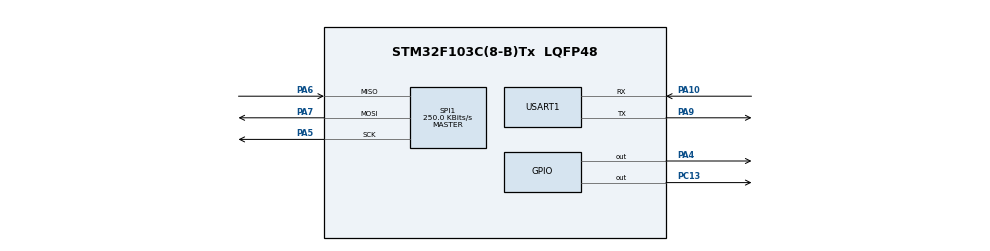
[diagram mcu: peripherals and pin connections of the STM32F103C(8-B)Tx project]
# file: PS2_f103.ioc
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Mcu.Family=STM32F1
Mcu.Name=STM32F103C(8-B)Tx
Mcu.Package=LQFP48
NVIC.PriorityGroup=NVIC_PRIORITYGROUP_4
PA10.Mode=Asynchronous
PA10.Signal=USART1_RX
PA13.Mode=Serial_Wire
PA13.Signal=SYS_JTMS-SWDIO
PA14.Mode=Serial_Wire
PA14.Signal=SYS_JTCK-SWCLK
PA4.Signal=GPIO_Output
PA5.Mode=Full_Duplex_Master
PA5.Signal=SPI1_SCK
PA6.Mode=Full_Duplex_Master
PA6.Signal=SPI1_MISO
PA7.Mode=Full_Duplex_Master
PA7.Signal=SPI1_MOSI
PA9.Mode=Asynchronous
PA9.Signal=USART1_TX
PC13-TAMPER-RTC.Signal=GPIO_Output
ProjectManager.HeapSize=0x200
ProjectManager.StackSize=0x400
ProjectManager.TargetToolchain=STM32CubeIDE
RCC.APB1Freq_Value=8000000
RCC.APB2Freq_Value=8000000
SPI1.BaudRatePrescaler=SPI_BAUDRATEPRESCALER_32
SPI1.CalculateBaudRate=250.0 KBits/s
SPI1.Direction=SPI_DIRECTION_2LINES
SPI1.Mode=SPI_MODE_MASTER
SPI1.VirtualType=VM_MASTER
USART1.VirtualMode=VM_ASYNC
board=custom

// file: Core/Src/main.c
/* USER CODE BEGIN Header */
/**
  ******************************************************************************
  * @file           : main.c
  * @brief          : Main program body
  ******************************************************************************
  * @attention
  *
  * Copyright (c) 2025 STMicroelectronics.
  * All rights reserved.
  *
  * This software is licensed under terms that can be found in the LICENSE file
  * in the root directory of this software component.
  * If no LICENSE file comes with this software, it is provided AS-IS.
  *
  ******************************************************************************
  */
/* USER CODE END Header */
#include "main.h"
#include "spi.h"
#include "usart.h"
#include "gpio.h"

/* USER CODE BEGIN Includes */
#include <stdio.h>

/* USER CODE END Includes */

/* USER CODE BEGIN PD */
#define CS_H	HAL_GPIO_WritePin(GPIOA, GPIO_PIN_4, GPIO_PIN_SET)
#define CS_L	HAL_GPIO_WritePin(GPIOA, GPIO_PIN_4, GPIO_PIN_RESET)
/* USER CODE END PD */

void SystemClock_Config(void);

/* USER CODE BEGIN 0 */
void PS2_Cmd(uint8_t* TxData, uint8_t size)
{
	CS_H; CS_L; HAL_Delay(1);
	HAL_SPI_Transmit(&hspi1, TxData, size, 100);
	CS_H; HAL_Delay(1);
}

void PS2_Init ()
{
/*	uint8_t ShortPoll[5] = {0x01, 0x42, 0x00, 0x00, 0x00};
	uint8_t EnterConfig[9] = {0x01, 0x43, 0x00, 0x01, 0x00, 0x00, 0x00, 0x00, 0x00};
	uint8_t Setup[9] = {0x01, 0x44, 0x00, 0x01, 0xEE, 0x00, 0x00, 0x00, 0x00};
	uint8_t VibrationMode[5] = {0x01, 0x4D, 0x00, 0x00, 0x01};
	uint8_t ExitConfig[9] = {0x01, 0x43, 0x00, 0x00, 0x5A, 0x5A, 0x5A, 0x5A, 0x5A};
*/
	uint8_t ShortPoll[5] = {0x01, 0x42, 0x00, 0xff, 0xff};
	uint8_t EnterConfig[5] = {0x01, 0x43, 0x00, 0x01, 0x00};
	uint8_t Setup[9] = {0x01, 0x44, 0x00, 0x01, 0xEE, 0x00, 0x00, 0x00, 0x00};
	uint8_t VibrationMode[9] = {0x01, 0x4D, 0x00, 0x00, 0x01, 0xff, 0xff, 0xff, 0xff};
	uint8_t Push[9] = {0x01, 0x4F, 0x00, 0xff, 0xff, 0x03, 0x00, 0x00, 0x00};
	uint8_t ExitConfig[9] = {0x01, 0x43, 0x00, 0x00, 0x5A, 0x5A, 0x5A, 0x5A, 0x5A};

	PS2_Cmd(ShortPoll, 5);
	PS2_Cmd(ShortPoll, 5);
	PS2_Cmd(ShortPoll, 5);
	PS2_Cmd(EnterConfig, 5);
	PS2_Cmd(Setup, 9);
	PS2_Cmd(VibrationMode, 9);
	PS2_Cmd(Push, 9);
	PS2_Cmd(ExitConfig, 9);
}

void PS2_Start(uint8_t* data)
{
	uint8_t start_bit[3] = {0x01, 0x42, 0x00};
	HAL_SPI_TransmitReceive(&hspi1, start_bit, data, 3, 100);
}

void PS2_ReadData(uint8_t *data)
{
	CS_H; CS_L; HAL_Delay(1);
	PS2_Start(data);
	for (uint8_t i=3; i<9; i++)
	{
		HAL_SPI_Receive(&hspi1, data[i], 1, 100);
	}
	CS_H; HAL_Delay(1);
}

void PS2_Vibration(uint8_t motor1, uint8_t motor2)
{
	uint8_t buff[9] = {0x01, 0x42, 0x00, motor1, motor2, 0x00, 0x00, 0x00, 0x00};
	PS2_Cmd(buff, 9);
}
/* USER CODE END 0 */

int main(void)
{

  /* MCU Configuration--------------------------------------------------------*/

  /* Reset of all peripherals, Initializes the Flash interface and the Systick. */
  HAL_Init();

  /* Configure the system clock */
  SystemClock_Config();

  /* Initialize all configured peripherals */
  MX_GPIO_Init();
  MX_SPI1_Init();
  MX_USART1_UART_Init();
  /* USER CODE BEGIN 2 */
  PS2_Init();
  uint8_t Data[9] ={0};
  /* USER CODE END 2 */

  /* Infinite loop */
  while (1)
  {
	  HAL_GPIO_TogglePin(GPIOC, GPIO_PIN_13);
	  PS2_ReadData(Data);
	  HAL_UART_Transmit(&huart1, Data, 9, 100);
	  HAL_Delay(200);
  }
}

void SystemClock_Config(void)
{
  RCC_OscInitTypeDef RCC_OscInitStruct = {0};
  RCC_ClkInitTypeDef RCC_ClkInitStruct = {0};

  /** Initializes the RCC Oscillators according to the specified parameters
  * in the RCC_OscInitTypeDef structure.
  */
  RCC_OscInitStruct.OscillatorType = RCC_OSCILLATORTYPE_HSI;
  RCC_OscInitStruct.HSIState = RCC_HSI_ON;
  RCC_OscInitStruct.HSICalibrationValue = RCC_HSICALIBRATION_DEFAULT;
  RCC_OscInitStruct.PLL.PLLState = RCC_PLL_NONE;
  if (HAL_RCC_OscConfig(&RCC_OscInitStruct) != HAL_OK)
  {
    Error_Handler();
  }

  /** Initializes the CPU, AHB and APB buses clocks
  */
  RCC_ClkInitStruct.ClockType = RCC_CLOCKTYPE_HCLK|RCC_CLOCKTYPE_SYSCLK
                              |RCC_CLOCKTYPE_PCLK1|RCC_CLOCKTYPE_PCLK2;
  RCC_ClkInitStruct.SYSCLKSource = RCC_SYSCLKSOURCE_HSI;
  RCC_ClkInitStruct.AHBCLKDivider = RCC_SYSCLK_DIV1;
  RCC_ClkInitStruct.APB1CLKDivider = RCC_HCLK_DIV1;
  RCC_ClkInitStruct.APB2CLKDivider = RCC_HCLK_DIV1;

  if (HAL_RCC_ClockConfig(&RCC_ClkInitStruct, FLASH_LATENCY_0) != HAL_OK)
  {
    Error_Handler();
  }
}

void Error_Handler(void)
{
  __disable_irq();
  while (1)
  {
  }
}
